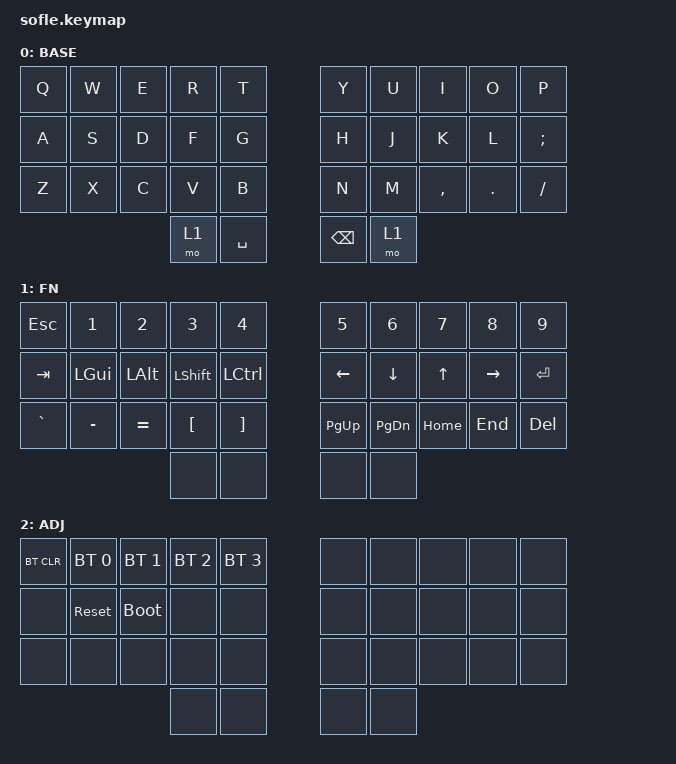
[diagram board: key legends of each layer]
#include <behaviors.dtsi>
#include <dt-bindings/zmk/keys.h>
#include <dt-bindings/zmk/bt.h>

/ {
  keymap {
    compatible = "zmk,keymap";

    /* =========================
       LAYER 0: BASE (QWERTY)
       ========================= */
    default_layer {
      display-name = "BASE";
      bindings = <
        &kp Q      &kp W      &kp E      &kp R      &kp T            &kp Y      &kp U      &kp I      &kp O      &kp P
        &kp A      &kp S      &kp D      &kp F      &kp G            &kp H      &kp J      &kp K      &kp L      &kp SEMI
        &kp Z      &kp X      &kp C      &kp V      &kp B            &kp N      &kp M      &kp COMMA  &kp DOT    &kp SLASH
                            &mo 1     &kp SPACE                 &kp BSPC   &mo 1
      >;
    };

    /* =========================
       LAYER 1: FN / NAV
       ========================= */
    fn_layer {
      display-name = "FN";
      bindings = <
        &kp ESC    &kp N1     &kp N2     &kp N3     &kp N4           &kp N5     &kp N6     &kp N7     &kp N8     &kp N9
        &kp TAB    &kp LGUI   &kp LALT   &kp LSHFT  &kp LCTRL        &kp LEFT   &kp DOWN   &kp UP     &kp RIGHT  &kp ENTER
        &kp GRAVE  &kp MINUS  &kp EQUAL  &kp LBKT   &kp RBKT         &kp PG_UP  &kp PG_DN  &kp HOME   &kp END    &kp DEL
                            &none    &none                      &none    &none
      >;
    };

    /* =========================
       LAYER 2: ADJUST (BT/RESET)
       ========================= */
    adjust_layer {
      display-name = "ADJ";
      bindings = <
        &bt BT_CLR     &bt BT_SEL 0  &bt BT_SEL 1  &bt BT_SEL 2  &bt BT_SEL 3     &none &none &none &none &none
        &none          &sys_reset    &bootloader   &none         &none            &none &none &none &none &none
        &none          &none         &none         &none         &none            &none &none &none &none &none
                                &none  &none                       &none  &none
      >;
    };
  };
};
